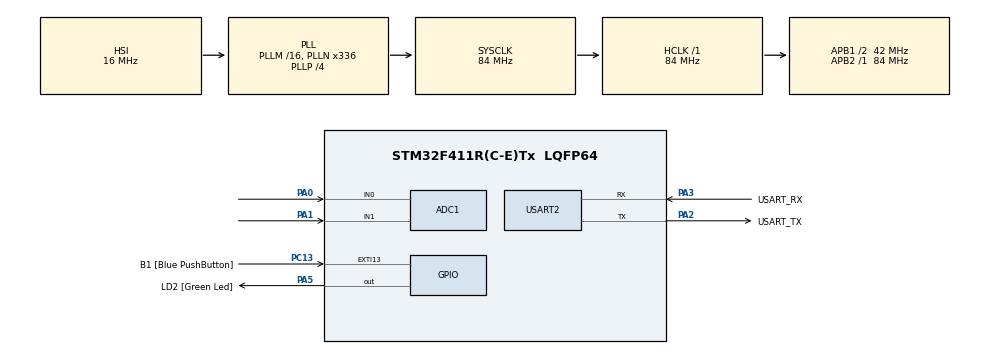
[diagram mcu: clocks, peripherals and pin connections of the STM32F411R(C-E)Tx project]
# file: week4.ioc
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ADC1.Channel-0\#ChannelRegularConversion=ADC_CHANNEL_0
ADC1.Channel-1\#ChannelRegularConversion=ADC_CHANNEL_1
ADC1.ContinuousConvMode=ENABLE
ADC1.DMAContinuousRequests=ENABLE
ADC1.NbrOfConversion=2
ADC1.NbrOfConversionFlag=1
ADC1.Rank-0\#ChannelRegularConversion=1
ADC1.Rank-1\#ChannelRegularConversion=2
ADC1.SamplingTime-0\#ChannelRegularConversion=ADC_SAMPLETIME_480CYCLES
ADC1.SamplingTime-1\#ChannelRegularConversion=ADC_SAMPLETIME_480CYCLES
ADC1.ScanConvMode=ENABLE
ADC1.master=1
Dma.ADC1.0.Direction=DMA_PERIPH_TO_MEMORY
Dma.ADC1.0.FIFOMode=DMA_FIFOMODE_DISABLE
Dma.ADC1.0.Instance=DMA2_Stream0
Dma.ADC1.0.MemDataAlignment=DMA_MDATAALIGN_WORD
Dma.ADC1.0.MemInc=DMA_MINC_ENABLE
Dma.ADC1.0.Mode=DMA_CIRCULAR
Dma.ADC1.0.PeriphDataAlignment=DMA_PDATAALIGN_WORD
Dma.ADC1.0.PeriphInc=DMA_PINC_DISABLE
Dma.ADC1.0.Priority=DMA_PRIORITY_LOW
Dma.Request0=ADC1
Mcu.Family=STM32F4
Mcu.Name=STM32F411R(C-E)Tx
Mcu.Package=LQFP64
NVIC.ADC_IRQn=true\:0\:0\:false\:false\:true\:true\:true
NVIC.DMA2_Stream0_IRQn=true\:0\:0\:false\:false\:true\:false\:true
NVIC.EXTI15_10_IRQn=true\:0\:0\:false\:false\:true\:true\:true
NVIC.PriorityGroup=NVIC_PRIORITYGROUP_0
PA0-WKUP.Signal=ADCx_IN0
PA1.Signal=ADCx_IN1
PA13.GPIO_Label=TMS
PA13.Mode=Serial_Wire
PA13.Signal=SYS_JTMS-SWDIO
PA14.GPIO_Label=TCK
PA14.Mode=Serial_Wire
PA14.Signal=SYS_JTCK-SWCLK
PA2.GPIO_Label=USART_TX
PA2.Mode=Asynchronous
PA2.Signal=USART2_TX
PA3.GPIO_Label=USART_RX
PA3.Mode=Asynchronous
PA3.Signal=USART2_RX
PA5.GPIO_Label=LD2 [Green Led]
PA5.Signal=GPIO_Output
PB3.GPIO_Label=SWO
PB3.Signal=SYS_JTDO-SWO
PC13-ANTI_TAMP.GPIO_Label=B1 [Blue PushButton]
PC13-ANTI_TAMP.GPIO_ModeDefaultEXTI=GPIO_MODE_IT_RISING_FALLING
PC13-ANTI_TAMP.GPIO_PuPd=GPIO_PULLUP
PC13-ANTI_TAMP.Signal=GPXTI13
PC14-OSC32_IN.Mode=LSE-External-Oscillator
PC14-OSC32_IN.Signal=RCC_OSC32_IN
PC15-OSC32_OUT.Mode=LSE-External-Oscillator
PC15-OSC32_OUT.Signal=RCC_OSC32_OUT
PH0\ -\ OSC_IN.Mode=HSE-External-Clock-Source
PH0\ -\ OSC_IN.Signal=RCC_OSC_IN
PH1\ -\ OSC_OUT.Mode=HSE-External-Clock-Source
PH1\ -\ OSC_OUT.Signal=RCC_OSC_OUT
ProjectManager.HeapSize=0x200
ProjectManager.StackSize=0x400
ProjectManager.TargetToolchain=STM32CubeIDE
RCC.48MHZClocksFreq_Value=84000000
RCC.AHBFreq_Value=84000000
RCC.APB1CLKDivider=RCC_HCLK_DIV2
RCC.APB1Freq_Value=42000000
RCC.APB1TimFreq_Value=84000000
RCC.APB2Freq_Value=84000000
RCC.APB2TimFreq_Value=84000000
RCC.CortexFreq_Value=84000000
RCC.FLatency-AdvancedSettings=FLASH_LATENCY_2
RCC.HCLKFreq_Value=84000000
RCC.HSE_VALUE=8000000
RCC.HSI_VALUE=16000000
RCC.PLLN=336
RCC.PLLP=RCC_PLLP_DIV4
RCC.SYSCLKFreq_VALUE=84000000
RCC.SYSCLKSource=RCC_SYSCLKSOURCE_PLLCLK
RCC.VCOOutputFreq_Value=336000000
SH.ADCx_IN0.0=ADC1_IN0,IN0
SH.ADCx_IN1.0=ADC1_IN1,IN1
USART2.VirtualMode=VM_ASYNC
board=NUCLEO-F411RE

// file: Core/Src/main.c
/* USER CODE BEGIN Header */
/**
  ******************************************************************************
  * @file           : main.c
  * @brief          : Main program body
  ******************************************************************************
  * @attention
  *
  * <h2><center>&copy; Copyright (c) 2021 STMicroelectronics.
  * All rights reserved.</center></h2>
  *
  * This software component is licensed by ST under BSD 3-Clause license,
  * the "License"; You may not use this file except in compliance with the
  * License. You may obtain a copy of the License at:
  *                        opensource.org/licenses/BSD-3-Clause
  *
  ******************************************************************************
  */
/* USER CODE END Header */
#include "main.h"

ADC_HandleTypeDef hadc1;
DMA_HandleTypeDef hdma_adc1;

UART_HandleTypeDef huart2;

/* USER CODE BEGIN PV */
uint32_t ADCData[2]={0};
uint32_t time1=0;
uint32_t time2=0;
uint32_t randomtime=0;
uint8_t  s[2]={0};
uint32_t deltatime=0;
uint32_t release=0;
uint32_t final=0;
uint32_t timesampling=0;
uint32_t timeled=0;
uint32_t n=0;

/* USER CODE END PV */

void SystemClock_Config(void);
static void MX_GPIO_Init(void);
static void MX_DMA_Init(void);
static void MX_USART2_UART_Init(void);
static void MX_ADC1_Init(void);

int main(void)
{

  /* MCU Configuration--------------------------------------------------------*/

  /* Reset of all peripherals, Initializes the Flash interface and the Systick. */
  HAL_Init();

  /* Configure the system clock */
  SystemClock_Config();

  /* Initialize all configured peripherals */
  MX_GPIO_Init();
  MX_DMA_Init();
  MX_USART2_UART_Init();
  MX_ADC1_Init();
  /* USER CODE BEGIN 2 */
HAL_GPIO_WritePin(GPIOA, GPIO_PIN_5, 1);
HAL_ADC_Start_DMA(&hadc1, ADCData, 2);

  /* USER CODE END 2 */

  /* Infinite loop */
  /* USER CODE BEGIN WHILE */
  while (1)
  {
	time2=HAL_GetTick();
	if(HAL_GPIO_ReadPin(GPIOC, GPIO_PIN_13)==GPIO_PIN_RESET)
	{
		deltatime = time2-time1;
		if(deltatime>=randomtime && n==63)
			 {
				timeled = HAL_GetTick();
				HAL_GPIO_WritePin(GPIOA, GPIO_PIN_5, 1);
 				n=0;
			 }
	}

// release = HAL_GetTick();
//				   final = release - randomtime;

    /* USER CODE END WHILE */

  }
}

void SystemClock_Config(void)
{
  RCC_OscInitTypeDef RCC_OscInitStruct = {0};
  RCC_ClkInitTypeDef RCC_ClkInitStruct = {0};

  /** Configure the main internal regulator output voltage
  */
  __HAL_RCC_PWR_CLK_ENABLE();
  __HAL_PWR_VOLTAGESCALING_CONFIG(PWR_REGULATOR_VOLTAGE_SCALE1);
  /** Initializes the RCC Oscillators according to the specified parameters
  * in the RCC_OscInitTypeDef structure.
  */
  RCC_OscInitStruct.OscillatorType = RCC_OSCILLATORTYPE_HSI;
  RCC_OscInitStruct.HSIState = RCC_HSI_ON;
  RCC_OscInitStruct.HSICalibrationValue = RCC_HSICALIBRATION_DEFAULT;
  RCC_OscInitStruct.PLL.PLLState = RCC_PLL_ON;
  RCC_OscInitStruct.PLL.PLLSource = RCC_PLLSOURCE_HSI;
  RCC_OscInitStruct.PLL.PLLM = 16;
  RCC_OscInitStruct.PLL.PLLN = 336;
  RCC_OscInitStruct.PLL.PLLP = RCC_PLLP_DIV4;
  RCC_OscInitStruct.PLL.PLLQ = 4;
  if (HAL_RCC_OscConfig(&RCC_OscInitStruct) != HAL_OK)
  {
    Error_Handler();
  }
  /** Initializes the CPU, AHB and APB buses clocks
  */
  RCC_ClkInitStruct.ClockType = RCC_CLOCKTYPE_HCLK|RCC_CLOCKTYPE_SYSCLK
                              |RCC_CLOCKTYPE_PCLK1|RCC_CLOCKTYPE_PCLK2;
  RCC_ClkInitStruct.SYSCLKSource = RCC_SYSCLKSOURCE_PLLCLK;
  RCC_ClkInitStruct.AHBCLKDivider = RCC_SYSCLK_DIV1;
  RCC_ClkInitStruct.APB1CLKDivider = RCC_HCLK_DIV2;
  RCC_ClkInitStruct.APB2CLKDivider = RCC_HCLK_DIV1;

  if (HAL_RCC_ClockConfig(&RCC_ClkInitStruct, FLASH_LATENCY_2) != HAL_OK)
  {
    Error_Handler();
  }
}

static void MX_ADC1_Init(void)
{

  ADC_ChannelConfTypeDef sConfig = {0};

  /** Configure the global features of the ADC (Clock, Resolution, Data Alignment and number of conversion)
  */
  hadc1.Instance = ADC1;
  hadc1.Init.ClockPrescaler = ADC_CLOCK_SYNC_PCLK_DIV4;
  hadc1.Init.Resolution = ADC_RESOLUTION_12B;
  hadc1.Init.ScanConvMode = ENABLE;
  hadc1.Init.ContinuousConvMode = ENABLE;
  hadc1.Init.DiscontinuousConvMode = DISABLE;
  hadc1.Init.ExternalTrigConvEdge = ADC_EXTERNALTRIGCONVEDGE_NONE;
  hadc1.Init.ExternalTrigConv = ADC_SOFTWARE_START;
  hadc1.Init.DataAlign = ADC_DATAALIGN_RIGHT;
  hadc1.Init.NbrOfConversion = 2;
  hadc1.Init.DMAContinuousRequests = ENABLE;
  hadc1.Init.EOCSelection = ADC_EOC_SINGLE_CONV;
  if (HAL_ADC_Init(&hadc1) != HAL_OK)
  {
    Error_Handler();
  }
  /** Configure for the selected ADC regular channel its corresponding rank in the sequencer and its sample time.
  */
  sConfig.Channel = ADC_CHANNEL_0;
  sConfig.Rank = 1;
  sConfig.SamplingTime = ADC_SAMPLETIME_480CYCLES;
  if (HAL_ADC_ConfigChannel(&hadc1, &sConfig) != HAL_OK)
  {
    Error_Handler();
  }
  /** Configure for the selected ADC regular channel its corresponding rank in the sequencer and its sample time.
  */
  sConfig.Channel = ADC_CHANNEL_1;
  sConfig.Rank = 2;
  if (HAL_ADC_ConfigChannel(&hadc1, &sConfig) != HAL_OK)
  {
    Error_Handler();
  }

}

static void MX_USART2_UART_Init(void)
{

  huart2.Instance = USART2;
  huart2.Init.BaudRate = 115200;
  huart2.Init.WordLength = UART_WORDLENGTH_8B;
  huart2.Init.StopBits = UART_STOPBITS_1;
  huart2.Init.Parity = UART_PARITY_NONE;
  huart2.Init.Mode = UART_MODE_TX_RX;
  huart2.Init.HwFlowCtl = UART_HWCONTROL_NONE;
  huart2.Init.OverSampling = UART_OVERSAMPLING_16;
  if (HAL_UART_Init(&huart2) != HAL_OK)
  {
    Error_Handler();
  }

}

static void MX_DMA_Init(void)
{

  /* DMA controller clock enable */
  __HAL_RCC_DMA2_CLK_ENABLE();

  /* DMA interrupt init */
  /* DMA2_Stream0_IRQn interrupt configuration */
  HAL_NVIC_SetPriority(DMA2_Stream0_IRQn, 0, 0);
  HAL_NVIC_EnableIRQ(DMA2_Stream0_IRQn);

}

static void MX_GPIO_Init(void)
{
  GPIO_InitTypeDef GPIO_InitStruct = {0};

  /* GPIO Ports Clock Enable */
  __HAL_RCC_GPIOC_CLK_ENABLE();
  __HAL_RCC_GPIOH_CLK_ENABLE();
  __HAL_RCC_GPIOA_CLK_ENABLE();
  __HAL_RCC_GPIOB_CLK_ENABLE();

  /*Configure GPIO pin Output Level */
  HAL_GPIO_WritePin(LD2_GPIO_Port, LD2_Pin, GPIO_PIN_RESET);

  /*Configure GPIO pin : B1_Pin */
  GPIO_InitStruct.Pin = B1_Pin;
  GPIO_InitStruct.Mode = GPIO_MODE_IT_RISING_FALLING;
  GPIO_InitStruct.Pull = GPIO_PULLUP;
  HAL_GPIO_Init(B1_GPIO_Port, &GPIO_InitStruct);

  /*Configure GPIO pin : LD2_Pin */
  GPIO_InitStruct.Pin = LD2_Pin;
  GPIO_InitStruct.Mode = GPIO_MODE_OUTPUT_PP;
  GPIO_InitStruct.Pull = GPIO_NOPULL;
  GPIO_InitStruct.Speed = GPIO_SPEED_FREQ_LOW;
  HAL_GPIO_Init(LD2_GPIO_Port, &GPIO_InitStruct);

  /* EXTI interrupt init*/
  HAL_NVIC_SetPriority(EXTI15_10_IRQn, 0, 0);
  HAL_NVIC_EnableIRQ(EXTI15_10_IRQn);

}

/* USER CODE BEGIN 4 */
void HAL_GPIO_EXTI_Callback(uint16_t GPIO_Pin)
{

	if(GPIO_Pin == GPIO_PIN_13)
	{
	 if(HAL_GPIO_ReadPin(GPIOC, GPIO_PIN_13)==GPIO_PIN_RESET)
	 {
		 time1 = HAL_GetTick();
		 //randomtime=3000;
		  randomtime= 1000+((22695477*ADCData[0])+ADCData[1])%10000 ;
		  HAL_GPIO_WritePin(GPIOA, GPIO_PIN_5, 0);
		  n=63;

	 }
	 if(HAL_GPIO_ReadPin(GPIOC, GPIO_PIN_13)==GPIO_PIN_SET)
		    	 {

		    	   release = HAL_GetTick();
		    	   if (deltatime>=randomtime)
		    	   {

		    		 final  = release - timeled;
		    	   }
		    	   else
		    	   {
		    		   final = 0;
		    	   }
		    	 }
	}

}

/* USER CODE END 4 */

void Error_Handler(void)
{
  __disable_irq();
  while (1)
  {
  }
}

/************************ (C) COPYRIGHT STMicroelectronics *****END OF FILE****/
